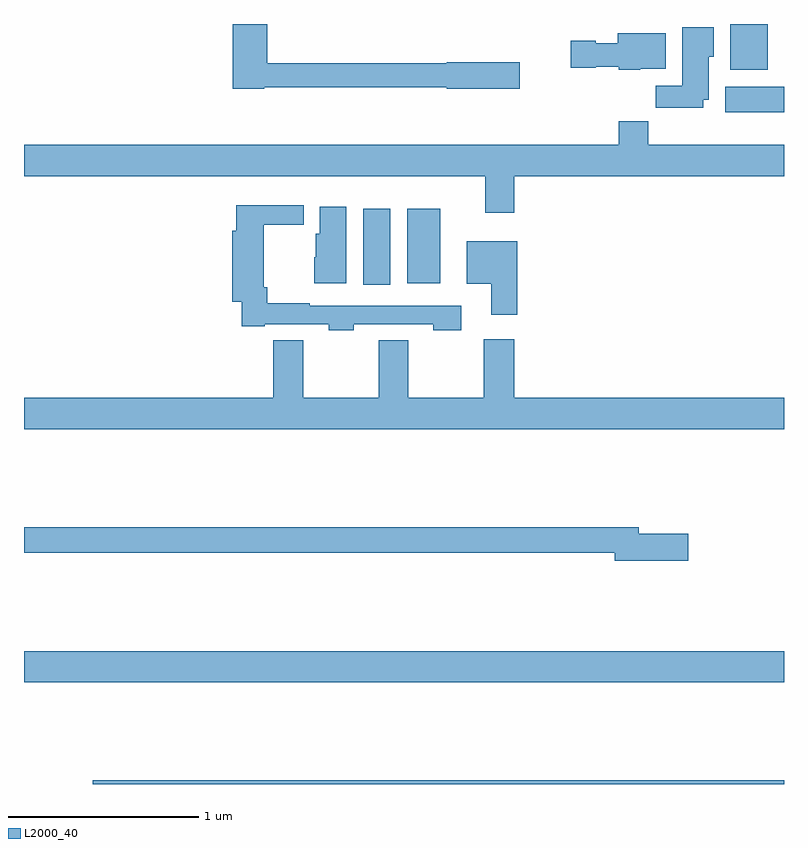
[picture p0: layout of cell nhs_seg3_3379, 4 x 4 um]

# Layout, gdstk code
import gdstk
lib = gdstk.Library(unit=1e-6, precision=1e-09)
def R(c, l, rs):  # rectangles x0, y0, x1, y1
    for r in rs: c.add(gdstk.rectangle(r[:2], r[2:], *l))
def P(c, l, *ps):  # polygons
    for p in ps: c.add(gdstk.Polygon(p, *l))
L2000_40 = (2000, 40)

nhs_seg3_3379 = lib.new_cell('nhs_seg3_3379')
R(nhs_seg3_3379, L2000_40, [(287.363,680.4,291,680.42), (287,680.936,291,681.1), (288.785,683.028,288.928,683.428), (289.016,683.036,289.192,683.428), (290.69,683.936,291,684.07), (290.717,684.158,290.914,684.4)])
P(nhs_seg3_3379, L2000_40, [(288.264,684.066),(289.224,684.066),(289.224,684.058),(289.609,684.058),(289.609,684.2),(289.224,684.2),(289.224,684.194),(288.281,684.194),(288.281,684.4),(288.098,684.4),(288.098,684.058),(288.264,684.058)],
  [(290.575,684.002),(290.605,684.002),(290.605,684.228),(290.629,684.228),(290.629,684.382),(290.465,684.382),(290.465,684.076),(290.326,684.076),(290.326,683.958),(290.575,683.958)],
  [(290.244,684.164),(290.377,684.164),(290.377,684.352),(290.126,684.352),(290.126,684.298),(290.01,684.298),(290.01,684.311),(289.878,684.311),(289.878,684.169),(290.01,684.169),(290.01,684.176),(290.13,684.176),(290.13,684.158),(290.244,684.158)],
  [(289.58,683.6),(291,683.6),(291,683.764),(290.285,683.764),(290.285,683.888),(290.129,683.888),(290.129,683.764),(287,683.764),(287,683.6),(289.427,683.6),(289.427,683.406),(289.58,683.406)],
  [(288.735,682.821),(289.155,682.821),(289.155,682.789),(289.3,682.789),(289.3,682.917),(288.503,682.917),(288.503,682.93),(288.281,682.93),(288.281,683.014),(288.262,683.014),(288.262,683.344),(288.472,683.344),(288.472,683.446),(288.116,683.446),(288.116,683.313),(288.095,683.313),(288.095,682.937),(288.145,682.937),(288.145,682.809),(288.268,682.809),(288.268,682.821),(288.603,682.821),(288.603,682.789),(288.735,682.789)],
  [(288.697,683.437),(288.557,683.437),(288.557,683.295),(288.536,683.295),(288.536,683.172),(288.527,683.172),(288.527,683.036),(288.697,683.036)],
  [(289.595,683.257),(289.331,683.257),(289.331,683.033),(289.46,683.033),(289.46,682.869),(289.595,682.869)],
  [(291,682.432),(289.58,682.432),(289.58,682.741),(289.42,682.741),(289.42,682.432),(289.022,682.432),(289.022,682.736),(288.868,682.736),(288.868,682.432),(288.47,682.432),(288.47,682.736),(288.311,682.736),(288.311,682.432),(287,682.432),(287,682.268),(291,682.268)],
  [(290.497,681.716),(290.236,681.716),(290.236,681.752),(287,681.752),(287,681.616),(290.108,681.616),(290.108,681.574),(290.497,681.574)])

lib.write_gds('nhs_seg3_3379.gds')
